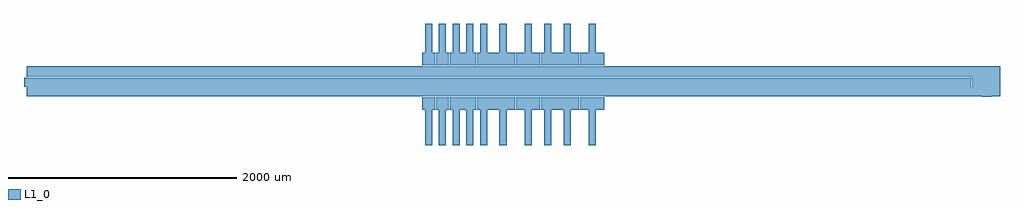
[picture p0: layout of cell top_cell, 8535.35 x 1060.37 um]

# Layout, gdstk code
import gdstk
lib = gdstk.Library(unit=1e-6, precision=1e-09)
def R(c, l, rs):  # rectangles x0, y0, x1, y1
    for r in rs: c.add(gdstk.rectangle(r[:2], r[2:], *l))
def P(c, l, *ps):  # polygons
    for p in ps: c.add(gdstk.Polygon(p, *l))
L1_0 = (1, 0)

top_cell = lib.new_cell('top_cell')
R(top_cell, L1_0, [(-3669.35,-36.429,4616.141,40.571)])
P(top_cell, L1_0, [(-161,-548.78),(-161,-241.5),(-186,-241.5),(-186,-129.5),(-74,-129.5),(-74,-241.5),(-99,-241.5),(-99,-548.78)],
  [(-41,-548.78),(-41,-241.5),(-66,-241.5),(-66,-129.5),(46,-129.5),(46,-241.5),(21,-241.5),(21,-548.78)],
  [(79,-548.78),(79,-241.5),(54,-241.5),(54,-129.5),(166,-129.5),(166,-241.5),(141,-241.5),(141,-548.78)],
  [(199,-548.78),(199,-241.5),(174,-241.5),(174,-129.5),(286,-129.5),(286,-241.5),(261,-241.5),(261,-548.78)],
  [(319,-548.78),(319,-241.5),(294,-241.5),(294,-129.5),(406,-129.5),(406,-241.5),(381,-241.5),(381,-548.78)],
  [(489,-548.78),(489,-241.5),(414,-241.5),(414,-129.5),(626,-129.5),(626,-241.5),(551,-241.5),(551,-548.78)],
  [(709,-548.78),(709,-241.5),(634,-241.5),(634,-129.5),(846,-129.5),(846,-241.5),(771,-241.5),(771,-548.78)],
  [(879,-548.78),(879,-241.5),(854,-241.5),(854,-129.5),(966,-129.5),(966,-241.5),(941,-241.5),(941,-548.78)],
  [(1049,-548.78),(1049,-241.5),(974,-241.5),(974,-129.5),(1186,-129.5),(1186,-241.5),(1111,-241.5),(1111,-548.78)],
  [(1269,-548.78),(1269,-241.5),(1194,-241.5),(1194,-129.5),(1406,-129.5),(1406,-241.5),(1331,-241.5),(1331,-548.78)],
  [(4709,-123.8),(4709,-121.5),(-3646,-121.5),(-3646,-44.5),(4624,-44.5),(4624,48.5),(-3646,48.5),(-3646,140.5),(4866,140.5),(4866,-121.5),(4791,-121.5),(4791,-123.8)],
  [(-186,148.5),(-186,260.5),(-161,260.5),(-161,511.59),(-99,511.59),(-99,260.5),(-74,260.5),(-74,148.5)],
  [(-66,148.5),(-66,260.5),(-41,260.5),(-41,511.59),(21,511.59),(21,260.5),(46,260.5),(46,148.5)],
  [(54,148.5),(54,260.5),(79,260.5),(79,511.59),(141,511.59),(141,260.5),(166,260.5),(166,148.5)],
  [(174,148.5),(174,260.5),(199,260.5),(199,511.59),(261,511.59),(261,260.5),(286,260.5),(286,148.5)],
  [(294,148.5),(294,260.5),(319,260.5),(319,511.59),(381,511.59),(381,260.5),(406,260.5),(406,148.5)],
  [(414,148.5),(414,260.5),(489,260.5),(489,511.59),(551,511.59),(551,260.5),(626,260.5),(626,148.5)],
  [(634,148.5),(634,260.5),(709,260.5),(709,511.59),(771,511.59),(771,260.5),(846,260.5),(846,148.5)],
  [(854,148.5),(854,260.5),(879,260.5),(879,511.59),(941,511.59),(941,260.5),(966,260.5),(966,148.5)],
  [(974,148.5),(974,260.5),(1049,260.5),(1049,511.59),(1111,511.59),(1111,260.5),(1186,260.5),(1186,148.5)],
  [(1194,148.5),(1194,260.5),(1269,260.5),(1269,511.59),(1331,511.59),(1331,260.5),(1406,260.5),(1406,148.5)])

lib.write_gds('top_cell.gds')
